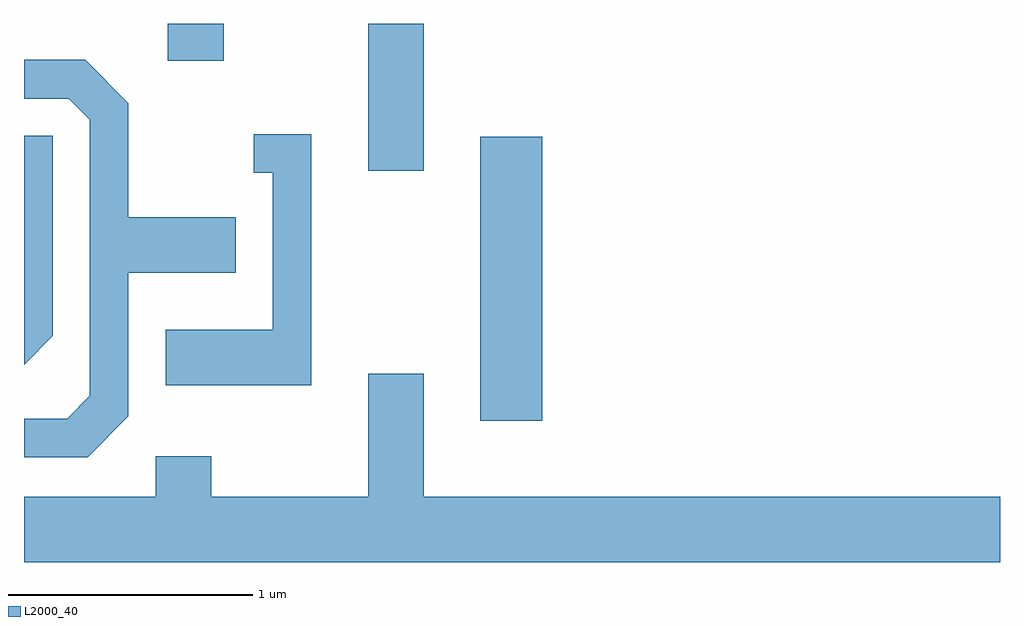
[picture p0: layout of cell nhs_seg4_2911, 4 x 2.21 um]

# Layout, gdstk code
import gdstk
lib = gdstk.Library(unit=1e-6, precision=1e-09)
def R(c, l, rs):  # rectangles x0, y0, x1, y1
    for r in rs: c.add(gdstk.rectangle(r[:2], r[2:], *l))
def P(c, l, *ps):  # polygons
    for p in ps: c.add(gdstk.Polygon(p, *l))
L2000_40 = (2000, 40)

nhs_seg4_2911 = lib.new_cell('nhs_seg4_2911')
R(nhs_seg4_2911, L2000_40, [(271.481,1366.356,271.734,1367.519), (271.021,1367.381,271.249,1367.982), (270.201,1367.831,270.429,1367.982)])
P(nhs_seg4_2911, L2000_40, [(270.039,1366.374),(270.039,1366.961),(270.479,1366.961),(270.479,1367.189),(270.039,1367.189),(270.039,1367.657),(269.862,1367.834),(269.611,1367.834),(269.611,1367.676),(269.794,1367.676),(269.881,1367.589),(269.881,1366.457),(269.789,1366.364),(269.611,1366.364),(269.611,1366.206),(269.872,1366.206)],
  [(270.789,1367.529),(270.553,1367.529),(270.553,1367.371),(270.631,1367.371),(270.631,1366.729),(270.191,1366.729),(270.191,1366.501),(270.789,1366.501)],
  [(269.729,1366.704),(269.729,1367.524),(269.611,1367.524),(269.611,1366.585)],
  [(273.611,1366.044),(271.249,1366.044),(271.249,1366.549),(271.021,1366.549),(271.021,1366.044),(270.379,1366.044),(270.379,1366.209),(270.151,1366.209),(270.151,1366.044),(269.611,1366.044),(269.611,1365.776),(273.611,1365.776)])

lib.write_gds('nhs_seg4_2911.gds')
